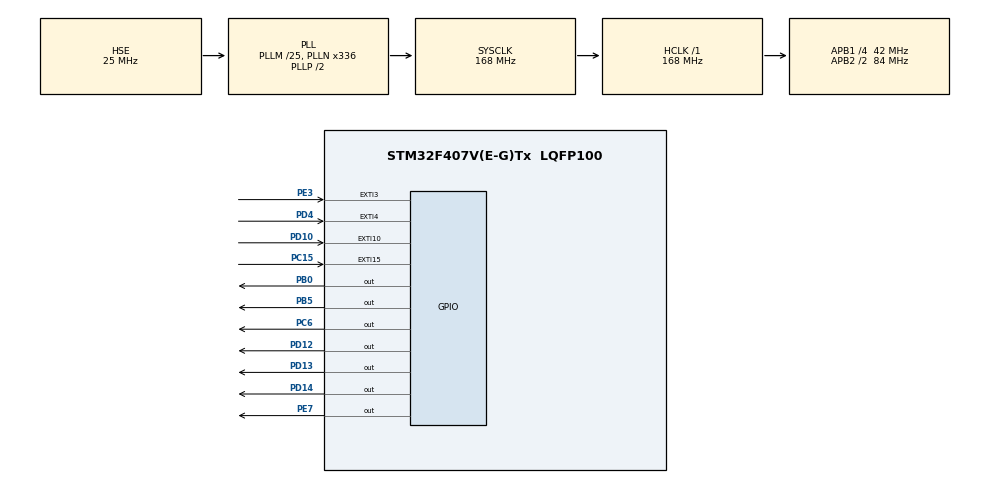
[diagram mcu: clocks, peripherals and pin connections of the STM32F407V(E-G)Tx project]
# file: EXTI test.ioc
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Mcu.Family=STM32F4
Mcu.Name=STM32F407V(E-G)Tx
Mcu.Package=LQFP100
NVIC.EXTI15_10_IRQn=true\:0\:0\:false\:true\:true\:3\:true\:true\:true
NVIC.EXTI3_IRQn=true\:0\:0\:false\:true\:true\:1\:true\:true\:true
NVIC.EXTI4_IRQn=true\:0\:0\:false\:true\:true\:2\:true\:true\:true
NVIC.PriorityGroup=NVIC_PRIORITYGROUP_4
PB0.Signal=GPIO_Output
PB5.Signal=GPIO_Output
PC15-OSC32_OUT.GPIO_ModeDefaultEXTI=GPIO_MODE_IT_RISING
PC15-OSC32_OUT.Signal=GPXTI15
PC6.Signal=GPIO_Output
PD10.GPIO_ModeDefaultEXTI=GPIO_MODE_IT_RISING
PD10.Signal=GPXTI10
PD12.Signal=GPIO_Output
PD13.Signal=GPIO_Output
PD14.Signal=GPIO_Output
PD4.GPIO_ModeDefaultEXTI=GPIO_MODE_IT_RISING
PD4.Signal=GPXTI4
PE3.GPIO_ModeDefaultEXTI=GPIO_MODE_IT_RISING
PE3.Signal=GPXTI3
PE7.Signal=GPIO_Output
PH0-OSC_IN.Mode=HSE-External-Oscillator
PH0-OSC_IN.Signal=RCC_OSC_IN
PH1-OSC_OUT.Mode=HSE-External-Oscillator
PH1-OSC_OUT.Signal=RCC_OSC_OUT
ProjectManager.HeapSize=0x200
ProjectManager.StackSize=0x400
ProjectManager.TargetToolchain=STM32CubeIDE
RCC.48MHZClocksFreq_Value=84000000
RCC.AHBFreq_Value=168000000
RCC.APB1CLKDivider=RCC_HCLK_DIV4
RCC.APB1Freq_Value=42000000
RCC.APB1TimFreq_Value=84000000
RCC.APB2CLKDivider=RCC_HCLK_DIV2
RCC.APB2Freq_Value=84000000
RCC.APB2TimFreq_Value=168000000
RCC.CortexFreq_Value=168000000
RCC.HCLKFreq_Value=168000000
RCC.HSE_VALUE=25000000
RCC.HSI_VALUE=16000000
RCC.LSE_VALUE=32768
RCC.PLLM=25
RCC.PLLN=336
RCC.PLLSourceVirtual=RCC_PLLSOURCE_HSE
RCC.SYSCLKFreq_VALUE=168000000
RCC.SYSCLKSource=RCC_SYSCLKSOURCE_PLLCLK
RCC.VCOOutputFreq_Value=336000000
board=custom

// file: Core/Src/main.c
/* USER CODE BEGIN Header */
/**
  ******************************************************************************
  * @file           : main.c
  * @brief          : Main program body
  ******************************************************************************
  * @attention
  *
  * Copyright (c) 2023 STMicroelectronics.
  * All rights reserved.
  *
  * This software is licensed under terms that can be found in the LICENSE file
  * in the root directory of this software component.
  * If no LICENSE file comes with this software, it is provided AS-IS.
  *
  ******************************************************************************
  */
/* USER CODE END Header */
#include "main.h"
#include "gpio.h"

void SystemClock_Config(void);
static void MX_NVIC_Init(void);

int main(void)
{

  /* MCU Configuration--------------------------------------------------------*/

  /* Reset of all peripherals, Initializes the Flash interface and the Systick. */
  HAL_Init();

  /* Configure the system clock */
  SystemClock_Config();

  /* Initialize all configured peripherals */
  MX_GPIO_Init();

  /* Initialize interrupts */
  MX_NVIC_Init();
  /* USER CODE BEGIN 2 */
  HAL_GPIO_WritePin(GPIOC, GPIO_PIN_6, GPIO_PIN_SET);
  HAL_GPIO_WritePin(GPIOB, GPIO_PIN_0, GPIO_PIN_SET);
  HAL_GPIO_WritePin(GPIOB, GPIO_PIN_5, GPIO_PIN_SET);

  HAL_GPIO_WritePin(GPIOD, GPIO_PIN_12, GPIO_PIN_SET);
  HAL_GPIO_WritePin(GPIOD, GPIO_PIN_13, GPIO_PIN_SET);
  HAL_GPIO_WritePin(GPIOD, GPIO_PIN_14, GPIO_PIN_SET);
  /* USER CODE END 2 */

  /* Infinite loop */
  while (1)
  {

  }
}

void SystemClock_Config(void)
{
  RCC_OscInitTypeDef RCC_OscInitStruct = {0};
  RCC_ClkInitTypeDef RCC_ClkInitStruct = {0};

  /** Configure the main internal regulator output voltage
  */
  __HAL_RCC_PWR_CLK_ENABLE();
  __HAL_PWR_VOLTAGESCALING_CONFIG(PWR_REGULATOR_VOLTAGE_SCALE1);

  /** Initializes the RCC Oscillators according to the specified parameters
  * in the RCC_OscInitTypeDef structure.
  */
  RCC_OscInitStruct.OscillatorType = RCC_OSCILLATORTYPE_HSE;
  RCC_OscInitStruct.HSEState = RCC_HSE_ON;
  RCC_OscInitStruct.PLL.PLLState = RCC_PLL_ON;
  RCC_OscInitStruct.PLL.PLLSource = RCC_PLLSOURCE_HSE;
  RCC_OscInitStruct.PLL.PLLM = 25;
  RCC_OscInitStruct.PLL.PLLN = 336;
  RCC_OscInitStruct.PLL.PLLP = RCC_PLLP_DIV2;
  RCC_OscInitStruct.PLL.PLLQ = 4;
  if (HAL_RCC_OscConfig(&RCC_OscInitStruct) != HAL_OK)
  {
    Error_Handler();
  }

  /** Initializes the CPU, AHB and APB buses clocks
  */
  RCC_ClkInitStruct.ClockType = RCC_CLOCKTYPE_HCLK|RCC_CLOCKTYPE_SYSCLK
                              |RCC_CLOCKTYPE_PCLK1|RCC_CLOCKTYPE_PCLK2;
  RCC_ClkInitStruct.SYSCLKSource = RCC_SYSCLKSOURCE_PLLCLK;
  RCC_ClkInitStruct.AHBCLKDivider = RCC_SYSCLK_DIV1;
  RCC_ClkInitStruct.APB1CLKDivider = RCC_HCLK_DIV4;
  RCC_ClkInitStruct.APB2CLKDivider = RCC_HCLK_DIV2;

  if (HAL_RCC_ClockConfig(&RCC_ClkInitStruct, FLASH_LATENCY_5) != HAL_OK)
  {
    Error_Handler();
  }
}

/**
  * @brief NVIC Configuration.
  * @retval None
  */
static void MX_NVIC_Init(void)
{
  /* EXTI3_IRQn interrupt configuration */
  HAL_NVIC_SetPriority(EXTI3_IRQn, 0, 0);
  HAL_NVIC_EnableIRQ(EXTI3_IRQn);
  /* EXTI4_IRQn interrupt configuration */
  HAL_NVIC_SetPriority(EXTI4_IRQn, 0, 0);
  HAL_NVIC_EnableIRQ(EXTI4_IRQn);
  /* EXTI15_10_IRQn interrupt configuration */
  HAL_NVIC_SetPriority(EXTI15_10_IRQn, 0, 0);
  HAL_NVIC_EnableIRQ(EXTI15_10_IRQn);
}

/* USER CODE BEGIN 4 */
void HAL_GPIO_EXTI_Callback(uint16_t GPIO_Pin)
{
	if(GPIO_Pin == GPIO_PIN_3){
		HAL_GPIO_TogglePin(GPIOD, GPIO_PIN_12);
	}
	if(GPIO_Pin == GPIO_PIN_15){
		HAL_GPIO_TogglePin(GPIOD, GPIO_PIN_13);
	}
	if(GPIO_Pin == GPIO_PIN_4){
		HAL_GPIO_TogglePin(GPIOD, GPIO_PIN_14);
	}
	if(GPIO_Pin == GPIO_PIN_10){
		HAL_GPIO_TogglePin(GPIOB, GPIO_PIN_0);
	}
}
/* USER CODE END 4 */

void Error_Handler(void)
{
  __disable_irq();
  while (1)
  {
  }
}
